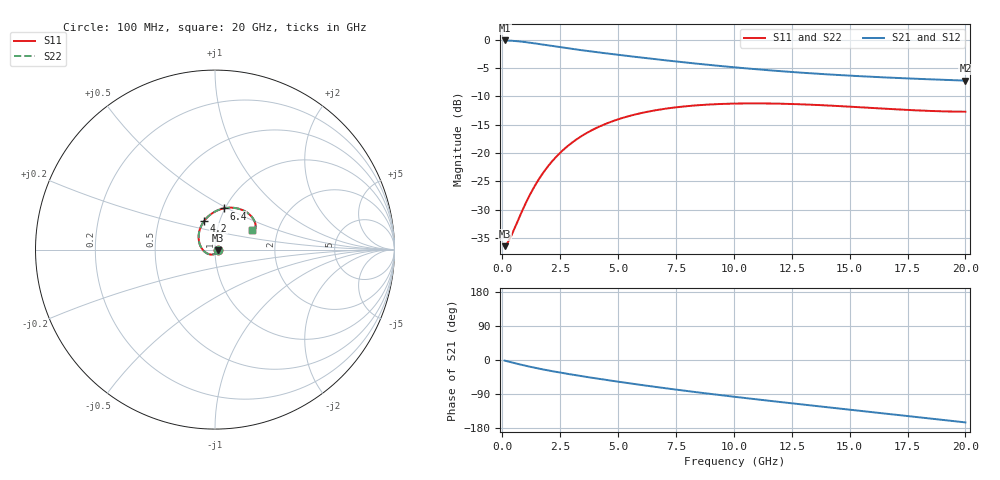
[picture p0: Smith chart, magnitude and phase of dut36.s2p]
! Created with skrf 1.9.0 (http://scikit-rf.org).
# GHz S RI R 50.0
!freq ReS11 ImS11 ReS21 ImS21 ReS12 ImS12 ReS22 ImS22
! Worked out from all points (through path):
!   200 points, 100 MHz to 20 GHz, reference 50 ohm
!   highest |S21| = -0.13 dB at 100 MHz (marker M1); lowest = -7.2 dB at 20 GHz (marker M2)
!   group delay of S21, straight-line fit = 21.4 ps
!   lowest |S11| = -36.4 dB at 100 MHz (marker M3), VSWR 1.03, Z = 51.5 - j0.467 ohm
!   |S11| at or under -10 dB: start of sweep to end of sweep
!   |S22| runs from -36.4 to -11.2 dB; largest |S21 - S12| = 1.8e-15
!   S11 on the Smith chart (normalised r, x): 100 MHz: 1.03, -0.01; 4.2 GHz: 0.85, +0.28; 6.4 GHz: 0.99, +0.48; 20 GHz: 1.47, +0.33
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0.1  0.0144 -0.00454  0.9844 -0.0272  0.9844 -0.0272  0.0144 -0.00454
0.2  0.0131 -0.00905  0.9821 -0.0541  0.9821 -0.0541  0.0131 -0.00905
0.4  0.0079 -0.0172  0.9732 -0.1068  0.9732 -0.1068  0.0079 -0.0172
0.9  -0.0168 -0.0277  0.9306 -0.2266  0.9306 -0.2266  -0.0168 -0.0277
1.2  -0.0353 -0.0249  0.8953 -0.2878  0.8953 -0.2878  -0.0353 -0.0249
1.5  -0.0533 -0.0155  0.8561 -0.341  0.8561 -0.341  -0.0533 -0.0155
1.8  -0.0687 -0.000662  0.8151 -0.3867  0.8151 -0.3867  -0.0687 -0.000662
2.2  -0.0833 0.0249  0.7596 -0.4379  0.7596 -0.4379  -0.0833 0.0249
2.6  -0.0905 0.0539  0.7047 -0.4803  0.7047 -0.4803  -0.0905 0.0539
3.5  -0.0823 0.1189  0.5851 -0.5519  0.5851 -0.5519  -0.0823 0.1189
4.2  -0.0592 0.1613  0.496 -0.5901  0.496 -0.5901  -0.0592 0.1613
5.2  -0.013 0.2042  0.3751 -0.6235  0.3751 -0.6235  -0.013 0.2042
6.4  0.0478 0.2295  0.2417 -0.6368  0.2417 -0.6368  0.0478 0.2295
6.8  0.0673 0.2326  0.2005 -0.6359  0.2005 -0.6359  0.0673 0.2326
8.4  0.1349 0.2268  0.0527 -0.6126  0.0527 -0.6126  0.1349 0.2268
10.1  0.1849 0.2017  -0.0753 -0.564  -0.0753 -0.564  0.1849 0.2017
11.7  0.2123 0.1726  -0.1723 -0.5055  -0.1723 -0.5055  0.2123 0.1726
13.4  0.225 0.1436  -0.255 -0.4351  -0.255 -0.4351  0.225 0.1436
15  0.2259 0.1224  -0.3167 -0.3635  -0.3167 -0.3635  0.2259 0.1224
16.7  0.22 0.1084  -0.367 -0.2827  -0.367 -0.2827  0.22 0.1084
18.4  0.2118 0.1038  -0.402 -0.1978  -0.402 -0.1978  0.2118 0.1038
20  0.2056 0.1071  -0.4203 -0.1152  -0.4203 -0.1152  0.2056 0.1071
